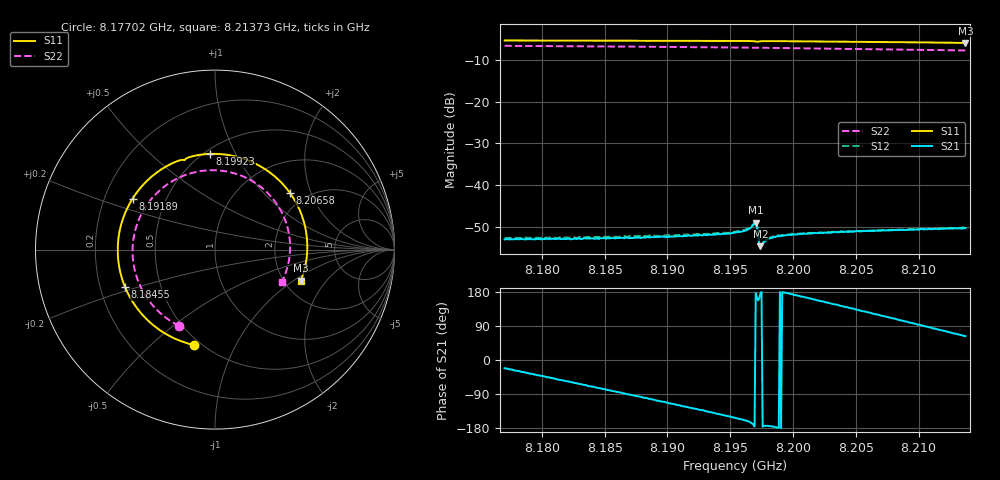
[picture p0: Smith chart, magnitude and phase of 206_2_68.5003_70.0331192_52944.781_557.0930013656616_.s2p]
#  HZ  S  RI  R  50.00
! Rohde & Schwarz Vector Network Analyzer
! Rohde-Schwarz,ZNB20-2Port,1311601062101988,3.16
! Created: UTC 3/20/2024, 4:57:50 PM
! freq[Hz]  re:S11  im:S11  re:S21  im:S21  re:S12  im:S12  re:S22  im:S22
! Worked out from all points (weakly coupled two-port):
!   401 points, 8.17702 GHz to 8.21373 GHz, reference 50 ohm
!   highest |S21| = -49.01 dB at 8.19703 GHz (marker M1); lowest = -54.7 dB at 8.1974 GHz (marker M2)
!   lowest |S11| = -5.9 dB at 8.21373 GHz (marker M3), VSWR 3.07, Z = 123 - j57.2 ohm
!   |S11| at or under -10 dB: nowhere
!   |S22| runs from -7.7 to -6.6 dB; largest |S21 - S12| = 0.00019
!   S11 on the Smith chart (normalised r, x): 8.17702 GHz: 0.46, -0.69; 8.18455 GHz: 0.31, -0.18; 8.19189 GHz: 0.32, +0.26; 8.19923 GHz: 0.53, +0.79; 8.20658 GHz: 1.66, +1.44; 8.21373 GHz: 2.45, -1.14
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8.177024e9  -0.1187 -0.5312  0.00207 -0.000828  0.00215 -0.000819  -0.1995 -0.4249
8.179961e9  -0.3034 -0.4513  0.00166 -0.00148  0.00173 -0.00157  -0.332 -0.3272
8.183173e9  -0.4576 -0.2928  0.001 -0.00202  0.00102 -0.00212  -0.4277 -0.1769
8.18455e9  -0.5016 -0.2078  0.000604 -0.00217  0.00062 -0.00228  -0.4497 -0.1037
8.186936e9  -0.54 -0.0467  -4.23e-05 -0.0023  -8.23e-05 -0.00242  -0.4582 0.0281
8.189322e9  -0.5279 0.1193  -0.00072 -0.00226  -0.000841 -0.0023  -0.4286 0.1567
8.191892e9  -0.4588 0.2846  -0.00146 -0.00197  -0.00159 -0.00199  -0.3568 0.2796
8.195379e9  -0.2852 0.4557  -0.00237 -0.00125  -0.00249 -0.00117  -0.2049 0.3988
8.196297e9  -0.2272 0.4859  -0.00269 -0.000983  -0.00283 -0.000887  -0.1573 0.4183
8.196939e9  -0.1811 0.5  -0.00349 -0.000275  -0.00356 -0.000132  -0.1226 0.4285
8.197031e9  -0.1745 0.4994  -0.00354 0.000215  -0.0036 0.000366  -0.1176 0.4298
8.197398e9  -0.1606 0.5075  -0.00184 0.00019  -0.00184 0.000266  -0.0978 0.4343
8.19749e9  -0.154 0.5109  -0.00188 1.25e-05  -0.00191 5.78e-05  -0.0927 0.4353
8.198132e9  -0.1081 0.5239  -0.00229 -0.000215  -0.00231 -0.000151  -0.0567 0.4403
8.199233e9  -0.0301 0.5332  -0.00247 6.49e-05  -0.0025 0.000197  0.00585 0.4418
8.201528e9  0.1305 0.5149  -0.00249 0.000849  -0.00245 0.000985  0.1335 0.4168
8.203914e9  0.2837 0.4454  -0.00218 0.00169  -0.00211 0.00176  0.2533 0.3508
8.206575e9  0.4185 0.3145  -0.00144 0.00242  -0.00135 0.00248  0.3563 0.2351
8.207677e9  0.459 0.2474  -0.00109 0.00268  -0.00101 0.00269  0.3858 0.1769
8.209237e9  0.4981 0.1435  -0.000481 0.00289  -0.000402 0.0029  0.4121 0.0876
8.210705e9  0.5137 0.0398  0.000126 0.00295  0.000214 0.00299  0.4184 -0.000943
8.213734e9  0.4781 -0.173  0.00139 0.0027  0.00144 0.00271  0.3718 -0.1804
